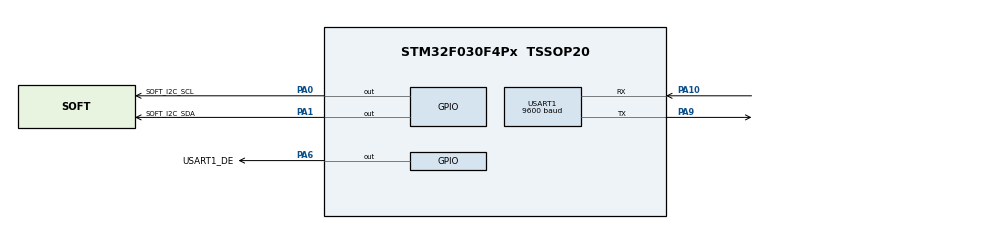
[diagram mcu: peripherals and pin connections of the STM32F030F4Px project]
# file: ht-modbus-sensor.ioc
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Mcu.Family=STM32F0
Mcu.Name=STM32F030F4Px
Mcu.Package=TSSOP20
NVIC.USART1_IRQn=true\:0\:0\:false\:false\:true\:true\:true
PA0.GPIO_Label=SOFT_I2C_SCL
PA0.GPIO_ModeDefaultOutputPP=GPIO_MODE_OUTPUT_OD
PA0.GPIO_PuPd=GPIO_NOPULL
PA0.GPIO_Speed=GPIO_SPEED_FREQ_HIGH
PA0.PinState=GPIO_PIN_SET
PA0.Signal=GPIO_Output
PA1.GPIO_Label=SOFT_I2C_SDA
PA1.GPIO_ModeDefaultOutputPP=GPIO_MODE_OUTPUT_OD
PA1.GPIO_PuPd=GPIO_NOPULL
PA1.GPIO_Speed=GPIO_SPEED_FREQ_HIGH
PA1.PinState=GPIO_PIN_SET
PA1.Signal=GPIO_Output
PA10.Mode=Asynchronous
PA10.Signal=USART1_RX
PA13.Mode=Serial_Wire
PA13.Signal=SYS_SWDIO
PA14.Mode=Serial_Wire
PA14.Signal=SYS_SWCLK
PA6.GPIO_Label=USART1_DE
PA6.GPIO_ModeDefaultOutputPP=GPIO_MODE_OUTPUT_OD
PA6.GPIO_PuPd=GPIO_PULLUP
PA6.GPIO_Speed=GPIO_SPEED_FREQ_HIGH
PA6.Signal=GPIO_Output
PA9.Mode=Asynchronous
PA9.Signal=USART1_TX
ProjectManager.HeapSize=0x200
ProjectManager.StackSize=0x400
ProjectManager.TargetToolchain=STM32CubeIDE
USART1.BaudRate=9600
USART1.OverrunDisableParam=ADVFEATURE_OVERRUN_ENABLE
USART1.Parity=PARITY_EVEN
USART1.VirtualMode-Asynchronous=VM_ASYNC
USART1.WordLength=WORDLENGTH_9B
board=custom

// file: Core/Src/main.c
/* USER CODE BEGIN Header */
/**
 ******************************************************************************
 * @file           : main.c
 * @brief          : Main program body
 ******************************************************************************
 * @attention
 *
 * <h2><center>&copy; Copyright (c) 2021 STMicroelectronics.
 * All rights reserved.</center></h2>
 *
 * This software component is licensed by ST under BSD 3-Clause license,
 * the "License"; You may not use this file except in compliance with the
 * License. You may obtain a copy of the License at:
 *                        opensource.org/licenses/BSD-3-Clause
 *
 ******************************************************************************
 */
/* USER CODE END Header */
#include "main.h"

/* USER CODE BEGIN Includes */
#include <stdio.h>
#include "soft_i2c.h"
#include "modbus.h"
/* USER CODE END Includes */

/* USER CODE BEGIN PD */
const uint8_t SHT30_I2C_ADDRESS = 0x44;
/* USER CODE END PD */

/* USER CODE BEGIN PM */
#ifdef DEBUG
#define LOG(...)	printf(__VA_ARGS__); puts("\r\n")
#else
#define LOG(...)
#endif

/* USER CODE END PM */

UART_HandleTypeDef huart1;

/* USER CODE BEGIN PV */
uint8_t mb_rx_byte;
uint16_t mb_holding_registers[2] = { 0, 0 };

/* USER CODE END PV */

void SystemClock_Config(void);
static void MX_GPIO_Init(void);
static void MX_USART1_UART_Init(void);

/* USER CODE BEGIN 0 */
extern void initialise_monitor_handles(void);

void mb_tx(uint8_t *data, uint32_t size) {
	LOG("Transmit modbus data");
	HAL_GPIO_WritePin(USART1_DE_GPIO_Port, USART1_DE_Pin, GPIO_PIN_SET);
	HAL_UART_Transmit(&huart1, data, size, 100);
	HAL_GPIO_WritePin(USART1_DE_GPIO_Port, USART1_DE_Pin, GPIO_PIN_RESET);
}

void HAL_UART_RxCpltCallback(UART_HandleTypeDef *huart) {
	mb_rx(mb_rx_byte);
	HAL_UART_Receive_IT(&huart1, &mb_rx_byte, 1);
}

uint8_t mb_read_holding_registers(uint16_t start, uint16_t count) {
	uint8_t i;
	LOG("Read holding register %d, count %d", start, count);

	if (start > sizeof(mb_holding_registers) / sizeof(uint16_t)) {
		return MB_ERROR_ILLEGAL_DATA_ADDRESS;
	}

	if (start + count > sizeof(mb_holding_registers) / sizeof(uint16_t)) {
		return MB_ERROR_ILLEGAL_DATA_ADDRESS;
	}

	for (i = start; i < start + count; i++) {
		mb_response_add(mb_holding_registers[i]);
	}

	return MB_NO_ERROR;
}

void read_sht30(void) {
	uint8_t buf[6];

	LOG("Read SHT30");

	buf[0] = 0x2C;
	buf[1] = 0x06;
	uint8_t err = soft_i2c_write(SHT30_I2C_ADDRESS, buf, 2, true);
	if (err) {
		LOG("error: no response from sht30 [%d]", err);
		return;
	}

	int len = soft_i2c_read(SHT30_I2C_ADDRESS, buf, 6, true);
	if (len != 6) {
		LOG("error: invalid data");
		return;
	}

#ifdef DEBUG
	printf("SHT30 raw data: ");
	for (uint8_t i = 0; i < len; i++) {
		printf("%02x ", buf[i]);
	}
	printf("\r\n");
#endif

	//TODO check CRC buf[2] and buf[5]
	uint16_t temperature_raw = (buf[0] << 8) + (buf[1]);
	uint16_t humidity_raw = (buf[3] << 8) + (buf[4]);

	mb_holding_registers[0] = ((float) temperature_raw) * 0.267033 - 4500.;
	mb_holding_registers[1] = ((float) humidity_raw) * 0.15259;
}

/* USER CODE END 0 */

int main(void) {

	/* MCU Configuration--------------------------------------------------------*/

	/* Reset of all peripherals, Initializes the Flash interface and the Systick. */
	HAL_Init();

	/* USER CODE BEGIN Init */
#ifdef DEBUG
	initialise_monitor_handles();
#endif
	/* USER CODE END Init */

	/* Configure the system clock */
	SystemClock_Config();

	/* Initialize all configured peripherals */
	MX_GPIO_Init();
	MX_USART1_UART_Init();
	/* USER CODE BEGIN 2 */
	soft_i2c_init();
	mb_init(99);

	HAL_UART_Receive_IT(&huart1, &mb_rx_byte, 1);
	uint32_t read_timer = 0;
	/* USER CODE END 2 */

	/* Infinite loop */
	while (1) {

		/* USER CODE BEGIN 3 */
		mb_process();

		if (HAL_GetTick() > read_timer) {
			read_sht30();
			LOG("Temperature: %d", mb_holding_registers[0]);
			LOG("Humidity: %d", mb_holding_registers[1]);
			read_timer = HAL_GetTick() + 5000;
		}
	}
	/* USER CODE END 3 */
}

void SystemClock_Config(void) {
	LL_FLASH_SetLatency(LL_FLASH_LATENCY_0);
	while (LL_FLASH_GetLatency() != LL_FLASH_LATENCY_0) {
	}
	LL_RCC_HSI_Enable();

	/* Wait till HSI is ready */
	while (LL_RCC_HSI_IsReady() != 1) {

	}
	LL_RCC_HSI_SetCalibTrimming(16);
	LL_RCC_SetAHBPrescaler(LL_RCC_SYSCLK_DIV_1);
	LL_RCC_SetAPB1Prescaler(LL_RCC_APB1_DIV_1);
	LL_RCC_SetSysClkSource(LL_RCC_SYS_CLKSOURCE_HSI);

	/* Wait till System clock is ready */
	while (LL_RCC_GetSysClkSource() != LL_RCC_SYS_CLKSOURCE_STATUS_HSI) {

	}
	LL_SetSystemCoreClock(8000000);

	/* Update the time base */
	if (HAL_InitTick(TICK_INT_PRIORITY) != HAL_OK) {
		Error_Handler();
	}
	LL_RCC_SetUSARTClockSource(LL_RCC_USART1_CLKSOURCE_PCLK1);
}

static void MX_USART1_UART_Init(void) {

	huart1.Instance = USART1;
	huart1.Init.BaudRate = 9600;
	huart1.Init.WordLength = UART_WORDLENGTH_9B;
	huart1.Init.StopBits = UART_STOPBITS_1;
	huart1.Init.Parity = UART_PARITY_EVEN;
	huart1.Init.Mode = UART_MODE_TX_RX;
	huart1.Init.HwFlowCtl = UART_HWCONTROL_NONE;
	huart1.Init.OverSampling = UART_OVERSAMPLING_16;
	huart1.Init.OneBitSampling = UART_ONE_BIT_SAMPLE_DISABLE;
	huart1.AdvancedInit.AdvFeatureInit = UART_ADVFEATURE_NO_INIT;
	if (HAL_UART_Init(&huart1) != HAL_OK) {
		Error_Handler();
	}

}

static void MX_GPIO_Init(void) {
	LL_GPIO_InitTypeDef GPIO_InitStruct = { 0 };

	/* GPIO Ports Clock Enable */
	LL_AHB1_GRP1_EnableClock(LL_AHB1_GRP1_PERIPH_GPIOA);

	/**/
	LL_GPIO_SetOutputPin(SOFT_I2C_SCL_GPIO_Port, SOFT_I2C_SCL_Pin);

	/**/
	LL_GPIO_SetOutputPin(SOFT_I2C_SDA_GPIO_Port, SOFT_I2C_SDA_Pin);

	/**/
	LL_GPIO_ResetOutputPin(USART1_DE_GPIO_Port, USART1_DE_Pin);

	/**/
	GPIO_InitStruct.Pin = SOFT_I2C_SCL_Pin;
	GPIO_InitStruct.Mode = LL_GPIO_MODE_OUTPUT;
	GPIO_InitStruct.Speed = LL_GPIO_SPEED_FREQ_HIGH;
	GPIO_InitStruct.OutputType = LL_GPIO_OUTPUT_OPENDRAIN;
	GPIO_InitStruct.Pull = LL_GPIO_PULL_NO;
	LL_GPIO_Init(SOFT_I2C_SCL_GPIO_Port, &GPIO_InitStruct);

	/**/
	GPIO_InitStruct.Pin = SOFT_I2C_SDA_Pin;
	GPIO_InitStruct.Mode = LL_GPIO_MODE_OUTPUT;
	GPIO_InitStruct.Speed = LL_GPIO_SPEED_FREQ_HIGH;
	GPIO_InitStruct.OutputType = LL_GPIO_OUTPUT_OPENDRAIN;
	GPIO_InitStruct.Pull = LL_GPIO_PULL_NO;
	LL_GPIO_Init(SOFT_I2C_SDA_GPIO_Port, &GPIO_InitStruct);

	/**/
	GPIO_InitStruct.Pin = USART1_DE_Pin;
	GPIO_InitStruct.Mode = LL_GPIO_MODE_OUTPUT;
	GPIO_InitStruct.Speed = LL_GPIO_SPEED_FREQ_HIGH;
	GPIO_InitStruct.OutputType = LL_GPIO_OUTPUT_OPENDRAIN;
	GPIO_InitStruct.Pull = LL_GPIO_PULL_UP;
	LL_GPIO_Init(USART1_DE_GPIO_Port, &GPIO_InitStruct);

}

void Error_Handler(void) {
}

/************************ (C) COPYRIGHT STMicroelectronics *****END OF FILE****/
